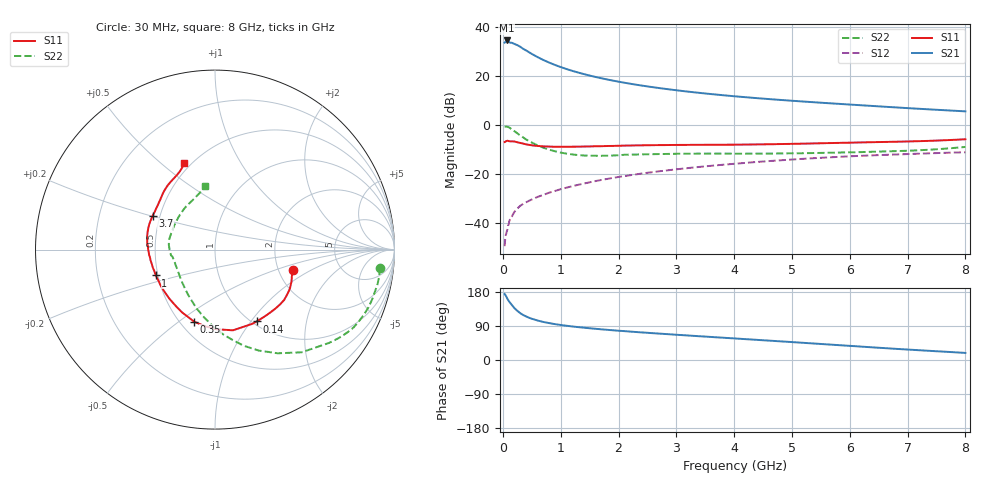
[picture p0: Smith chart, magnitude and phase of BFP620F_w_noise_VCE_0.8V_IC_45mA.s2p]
! Infineon Technologies  Discrete & RF Semiconductors
! BFP620F
! VCE =  0.8 V,  IC =  45 mA
! Common Emitter S-Parameters:  Dec 2014
# GHz  S  MA  R  50
!  f  S11  S21  S12  S22
! GHz  MAG  ANG  MAG  ANG  MAG  ANG  MAG  ANG
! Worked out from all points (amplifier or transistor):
!   95 points, 30 MHz to 8 GHz, reference 50 ohm
!   highest |S21| = 34.4 dB at 70 MHz (marker M1)
!   |S21| within 3 dB of that: start of sweep to 326.5 MHz
!   unconditionally stable (mu >= 1): 1.904 GHz to end of sweep
!   at 300 MHz: K = 0.47, MSG = 32.4 dB, |S12| = -32.9 dB
!   at 3.3 GHz: K = 1.03, MAG = 14.3 dB, |S12| = -17.3 dB
!   at 8 GHz: K = 1.06, MAG = 6.9 dB, |S12| = -11.1 dB
!   lowest NFmin = 1.45 dB at 450 MHz
!   S11 on the Smith chart (normalised r, x): 30 MHz: 2.39, -0.69; 140 MHz: 1.05, -1.07; 350 MHz: 0.59, -0.57; 1 GHz: 0.49, -0.16; 3.7 GHz: 0.46, +0.20; 8 GHz: 0.46, +0.60
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0.03  0.4487 -15.0  47.37 174.2  0.0034 86.6  0.9248 -6.3
0.05  0.4627 -23.0  50.81 170.0  0.0057 99.1  0.9259 -12.0
0.07  0.4733 -31.6  52.56 164.0  0.007 83.5  0.9184 -17.7
0.09  0.4738 -40.4  51.21 158.5  0.009 80.4  0.9059 -23.5
0.12  0.4641 -53.0  47.74 151.9  0.0117 75.0  0.8708 -31.9
0.14  0.4625 -59.9  47.26 148.1  0.0133 74.8  0.8371 -37.0
0.2  0.4607 -77.4  44.61 136.9  0.017 68.4  0.7491 -49.8
0.25  0.4441 -88.6  42.17 129.7  0.0198 65.3  0.6754 -58.8
0.3  0.4301 -97.7  39.15 123.6  0.0226 63.7  0.6128 -66.6
0.35  0.4181 -106.1  35.57 118.8  0.0246 62.6  0.5589 -73.4
0.45  0.3945 -118.0  30.39 111.7  0.0285 62.0  0.4727 -84.8
0.6  0.3735 -132.8  24.09 104.2  0.0342 61.7  0.383 -99.0
0.8  0.3631 -146.5  18.63 97.4  0.0417 62.8  0.3137 -114.3
1  0.3602 -156.4  15.1 92.4  0.0492 63.2  0.2737 -127.6
1.4  0.3639 -170.3  10.87 85.3  0.0641 63.3  0.2389 -149.7
1.9  0.3739 177.9  8.014 78.5  0.0834 62.0  0.2387 -168.6
2.7  0.3888 164.6  5.646 69.7  0.1137 58.1  0.2554 177.3
3.7  0.3952 151.6  4.148 59.8  0.1509 51.9  0.261 166.2
4.1  0.3977 146.9  3.756 56.0  0.1654 49.2  0.2601 161.3
5.4  0.4213 134.7  2.891 43.3  0.2111 39.3  0.2684 142.3
6.7  0.4529 122.4  2.314 30.4  0.2481 28.7  0.2912 122.2
8  0.5113 109.6  1.892 18.7  0.2778 18.5  0.3567 98.8
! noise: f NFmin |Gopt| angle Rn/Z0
0.45  1.45  0.18  -172  0.16
0.9  1.48  0.18  -172  0.14
1.5  1.49  0.23  -153  0.1
1.8  1.5  0.23  -152  0.1
1.9  1.5  0.23  -151  0.11
2.4  1.52  0.24  213  0.12
3.5  1.58  0.24  220  0.15
5.5  1.72  0.29  248  0.19
6  1.76  0.29  261  0.24
